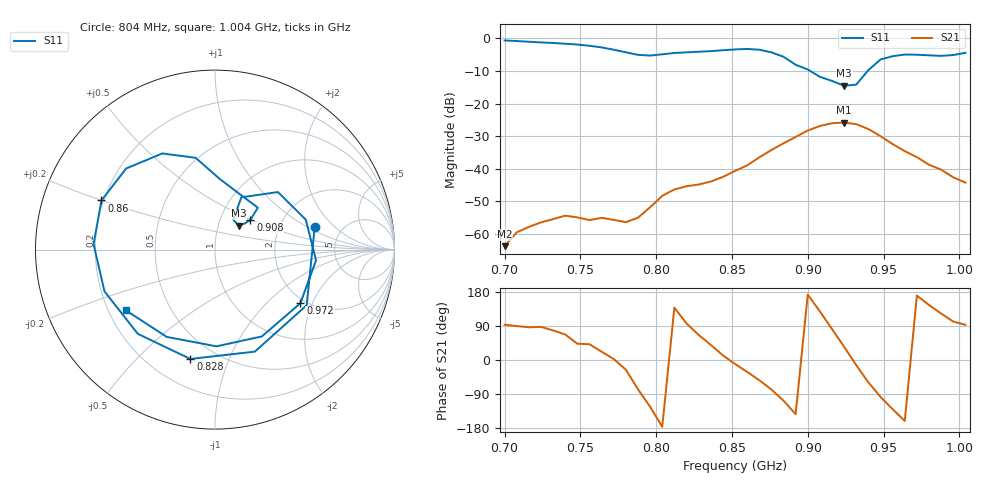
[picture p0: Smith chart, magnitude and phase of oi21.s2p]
# Hz S RI R 50
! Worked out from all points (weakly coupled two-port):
!   39 points, 700 MHz to 1.004 GHz, reference 50 ohm
!   highest |S21| = -25.84 dB at 924 MHz (marker M1); lowest = -63.8 dB at 700 MHz (marker M2)
!   lowest |S11| = -14.5 dB at 924 MHz (marker M3), VSWR 1.46, Z = 62.6 + j17.3 ohm
!   |S11| at or under -10 dB: 901.6 MHz to 939.5 MHz (37.87 MHz wide, 4.11 % of centre)
!   S12 and S22 are empty: the file has one direction only
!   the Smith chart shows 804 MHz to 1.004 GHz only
!   S11 on the Smith chart (normalised r, x): 804 MHz: 3.17, +1.17; 828 MHz: 0.37, -0.73; 860 MHz: 0.19, +0.20; 908 MHz: 1.39, +0.49; 972 MHz: 1.88, -1.64; 1.004 GHz: 0.27, -0.29
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7e8  0.767 0.5255  -3.59e-05 0.000647  0 0  0 0
7.24e8  0.8264 -0.2639  6.9e-05 0.0015  0 0  0 0
7.4e8  0.4402 -0.7011  0.000734 0.00176  0 0  0 0
7.56e8  -0.1957 -0.7445  0.00122 0.00108  0 0  0 0
7.72e8  -0.645 -0.184  0.00164 7.43e-05  0 0  0 0
7.8e8  -0.5675 0.2294  0.00137 -0.000652  0 0  0 0
7.88e8  -0.212 0.517  0.000387 -0.00173  0 0  0 0
7.96e8  0.2589 0.4801  -0.00141 -0.00214  0 0  0 0
8.04e8  0.5555 0.1252  -0.00383 -0.000246  0 0  0 0
8.2e8  0.2221 -0.5683  -0.000621 0.00535  0 0  0 0
8.28e8  -0.1373 -0.6093  0.0023 0.00524  0 0  0 0
8.52e8  -0.6765 0.031  0.00909 -0.00166  0 0  0 0
8.6e8  -0.6325 0.2739  0.00961 -0.00585  0 0  0 0
8.76e8  -0.2933 0.5358  0.00411 -0.0189  0 0  0 0
9e8  0.2387 0.2332  -0.0383 0.00493  0 0  0 0
9.08e8  0.1969 0.1654  -0.0279 0.0356  0 0  0 0
9.24e8  0.1323 0.1334  0.042 0.0291  0 0  0 0
9.4e8  0.1468 0.2912  0.0209 -0.0348  0 0  0 0
9.56e8  0.5059 0.1668  -0.0153 -0.0183  0 0  0 0
9.72e8  0.4759 -0.2986  -0.0148 0.0026  0 0  0 0
9.88e8  0.00828 -0.5389  -0.00522 0.00815  0 0  0 0
1.004e9  -0.4953 -0.3391  -0.000318 0.00612  0 0  0 0
